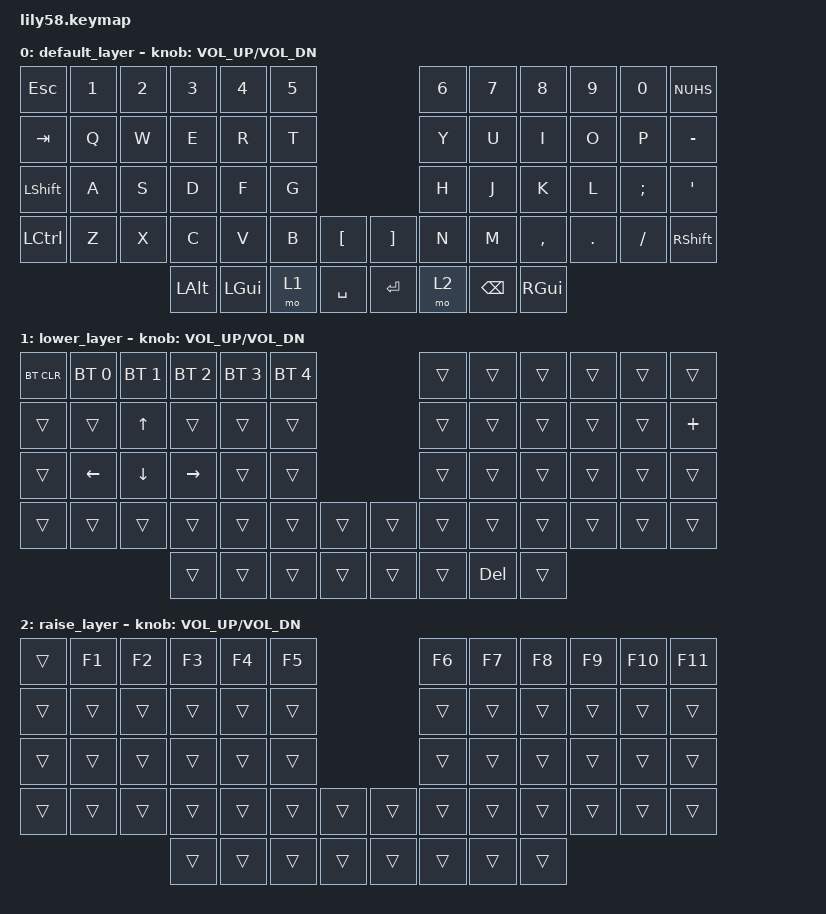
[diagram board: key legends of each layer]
/*
 * Copyright (c) 2020 The ZMK Contributors
 *
 * SPDX-License-Identifier: MIT
 */

#include <behaviors.dtsi>
#include <dt-bindings/zmk/keys.h>
#include <dt-bindings/zmk/bt.h>
#include <dt-bindings/zmk/ext_power.h>

/ {
    keymap {
        compatible = "zmk,keymap";

        default_layer {
// ------------------------------------------------------------------------------------------------------------
// |  ESC  |  1  |  2  |  3   |  4   |  5   |                   |  6   |  7    |  8    |  9   |   0   | ~/#   |
// |  TAB  |  Q  |  W  |  E   |  R   |  T   |                   |  Y   |  U    |  I    |  O   |   P   |   -   |
// | SHIFT |  A  |  S  |  D   |  F   |  G   |                   |  H   |  J    |  K    |  L   |   ;   |   '   |
// | CTRL  |  Z  |  X  |  C   |  V   |  B   |   "["  |  |  "]"  |  N   |  M    |  ,    |  .   |   /   | SHIFT |
//                     | ALT  | GUI  | LOWER|  SPACE |  | ENTER | RAISE| BSPC  | GUI   |
            bindings = <
&kp ESC   &kp N1 &kp N2 &kp N3   &kp N4   &kp N5                     &kp N6 &kp N7   &kp N8    &kp N9  &kp N0   &kp NUHS
&kp TAB   &kp Q  &kp W  &kp E    &kp R    &kp T                      &kp Y  &kp U    &kp I     &kp O   &kp P    &kp MINUS
&kp LSHFT &kp A  &kp S  &kp D    &kp F    &kp G                      &kp H  &kp J    &kp K     &kp L   &kp SEMI &kp SQT
&kp LCTRL &kp Z  &kp X  &kp C    &kp V    &kp B  &kp LBKT   &kp RBKT &kp N  &kp M    &kp COMMA &kp DOT &kp FSLH &kp RSHFT
                        &kp LALT &kp LGUI &mo 1  &kp SPACE  &kp RET  &mo 2  &kp BSPC &kp RGUI
            >;

            sensor-bindings = <&inc_dec_kp C_VOL_UP C_VOL_DN>;
        };

        lower_layer {
// ------------------------------------------------------------------------------------------------------------
// | BTCLR | BT1 | BT2 |  BT3 |  BT4 |  BT5 |                   |      |       |       |      |       |       |
// |       |     |  UP |      |      |      |                   |      |       |       |      |       |       |
// |       | LFT | DWN |  RHT |      |      |                   |      |       |       |      |       |       |
// |       |     |     |      |      |      |        |  |       |      |       |       |      |       |       |
//                     |      |      |      |        |  |       |      |       |       |
            bindings = <
&bt BT_CLR &bt BT_SEL 0     &bt BT_SEL 1      &bt BT_SEL 2      &bt BT_SEL 3 &bt BT_SEL 4                 &trans    &trans    &trans    &trans    &trans    &trans
&trans     &trans           &kp UP            &trans            &trans       &trans                       &trans    &trans    &trans    &trans    &trans    &kp PLUS
&trans     &kp LEFT         &kp DOWN          &kp RIGHT         &trans       &trans                       &trans    &trans    &trans    &trans    &trans    &trans
&trans     &trans           &trans            &trans            &trans       &trans    &trans   &trans    &trans    &trans    &trans    &trans    &trans    &trans
                                              &trans            &trans       &trans    &trans   &trans    &trans    &kp DEL    &trans
            >;

            sensor-bindings = <&inc_dec_kp C_VOL_UP C_VOL_DN>;
        };

        raise_layer {
// ------------------------------------------------------------------------------------------------------------
// |       |  F1 |  F2 |  F3  |  F4  |  F5  |                   |  F6  |   F7  |   F8  |  F9  |  F10  |       |
// |       |     |     |      |      |      |                   |      |       |       |      |       |       |
// |       |     |     |      |      |      |                   |      |       |       |      |       |       |
// |       |     |     |      |      |      |        |  |       |      |       |       |      |       |       |
//                     |      |      |      |        |  |       |      |       |       |
            bindings = <
&trans    &kp F1 &kp F2 &kp F3 &kp F4 &kp F5                     &kp F6  &kp F7  &kp F8  &kp F9 &kp F10  &kp F11
&trans    &trans &trans &trans &trans &trans                     &trans  &trans  &trans  &trans &trans   &trans
&trans    &trans &trans &trans &trans &trans                     &trans  &trans  &trans  &trans &trans   &trans
&trans    &trans &trans &trans &trans &trans  &trans     &trans  &trans  &trans  &trans  &trans &trans   &trans
                        &trans &trans &trans  &trans     &trans  &trans  &trans  &trans
            >;

            sensor-bindings = <&inc_dec_kp C_VOL_UP C_VOL_DN>;
        };
    };
};
